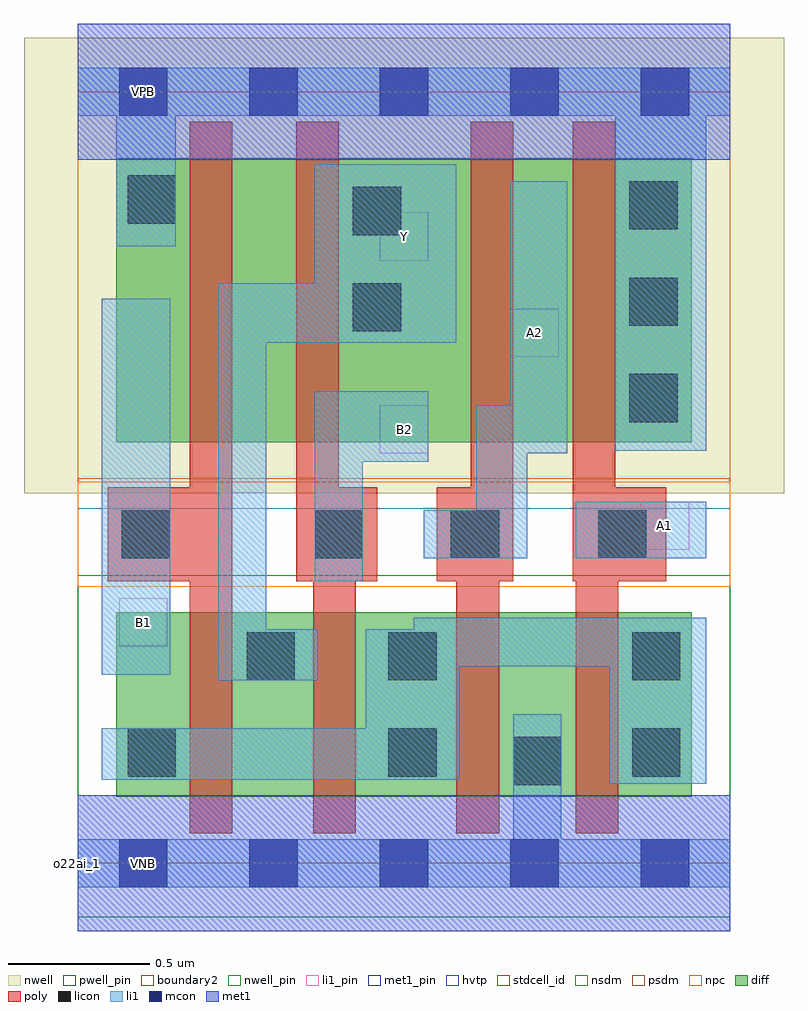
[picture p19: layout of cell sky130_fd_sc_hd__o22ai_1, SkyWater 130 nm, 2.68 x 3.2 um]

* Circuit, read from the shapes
.subckt sky130_fd_sc_hd__o22ai_1 A1 A2 B1 B2 VGND VNB VPB VPWR Y
XM1 Y B1 n1 VNB sky130_fd_pr__nfet_01v8 w=0.65 l=0.15
XM2 n1 B2 Y VNB sky130_fd_pr__nfet_01v8 w=0.65 l=0.15
XM3 VGND A2 n1 VNB sky130_fd_pr__nfet_01v8 w=0.65 l=0.15
XM4 n1 A1 VGND VNB sky130_fd_pr__nfet_01v8 w=0.65 l=0.15
XM5 n2 B1 VPWR VPB sky130_fd_pr__pfet_01v8_hvt w=1 l=0.15
XM6 Y B2 n2 VPB sky130_fd_pr__pfet_01v8_hvt w=1 l=0.15
XM7 n3 A2 Y VPB sky130_fd_pr__pfet_01v8_hvt w=1 l=0.15
XM8 VPWR A1 n3 VPB sky130_fd_pr__pfet_01v8_hvt w=1 l=0.15
.ends

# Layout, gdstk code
import gdstk
lib = gdstk.Library(unit=1e-6, precision=1e-09)
def R(c, l, rs):  # rectangles x0, y0, x1, y1
    for r in rs: c.add(gdstk.rectangle(r[:2], r[2:], *l))
def A(c, l, x, y, w, h, nx, ny, dx, dy):  # array of equal rectangles
    R(c, l, [(x+i*dx, y+j*dy, x+i*dx+w, y+j*dy+h) for i in range(nx) for j in range(ny)])
def P(c, l, *ps):  # polygons
    for p in ps: c.add(gdstk.Polygon(p, *l))
nwell_pin = (64, 16)
nwell = (64, 20)
diff = (65, 20)
poly = (66, 20)
licon = (66, 44)
li1_pin = (67, 16)
li1 = (67, 20)
mcon = (67, 44)
met1_pin = (68, 16)
met1 = (68, 20)
hvtp = (78, 44)
stdcell_id = (81, 4)
nsdm = (93, 44)
psdm = (94, 20)
npc = (95, 20)
pwell_pin = (122, 16)
boundary2 = (236, 0)

sky130_fd_sc_hd__o22ai_1 = lib.new_cell('sky130_fd_sc_hd__o22ai_1')
R(sky130_fd_sc_hd__o22ai_1, nwell_pin, [(0.145,2.635,0.315,2.805)])
R(sky130_fd_sc_hd__o22ai_1, nwell, [(-0.19,1.305,2.49,2.91)])
R(sky130_fd_sc_hd__o22ai_1, diff, [(0.135,0.235,2.165,0.885), (0.135,1.485,2.165,2.485)])
P(sky130_fd_sc_hd__o22ai_1, poly, [(0.545,2.615),(0.395,2.615),(0.395,1.325),(0.105,1.325),(0.105,0.995),(0.395,0.995),(0.395,0.105),(0.545,0.105)],
  [(1.055,1.325),(0.92,1.325),(0.92,2.615),(0.77,2.615),(0.77,0.995),(0.83,0.995),(0.83,0.105),(0.98,0.105),(0.98,0.995),(1.055,0.995)],
  [(1.535,2.615),(1.385,2.615),(1.385,1.325),(1.265,1.325),(1.265,0.995),(1.335,0.995),(1.335,0.105),(1.485,0.105),(1.485,0.995),(1.535,0.995)],
  [(2.075,1.325),(1.895,1.325),(1.895,2.615),(1.745,2.615),(1.745,0.995),(1.755,0.995),(1.755,0.105),(1.905,0.105),(1.905,0.995),(2.075,0.995)])
A(sky130_fd_sc_hd__o22ai_1, licon, 1.945, 1.555, 0.17, 0.17, 1, 3, 0, 0.34)
R(sky130_fd_sc_hd__o22ai_1, licon, [(1.535,0.275,1.705,0.445), (0.175,0.305,0.345,0.475), (1.095,0.305,1.265,0.475), (1.955,0.305,2.125,0.475), (0.595,0.645,0.765,0.815), (1.095,0.645,1.265,0.815), (1.955,0.645,2.125,0.815), (0.155,1.075,0.325,1.245), (0.835,1.075,1.005,1.245), (1.315,1.075,1.485,1.245), (1.835,1.075,2.005,1.245), (0.97,1.875,1.14,2.045), (0.97,2.215,1.14,2.385), (0.175,2.255,0.345,2.425)])
R(sky130_fd_sc_hd__o22ai_1, li1_pin, [(0.145,0.765,0.315,0.935), (1.985,1.105,2.155,1.275), (1.065,1.445,1.235,1.615), (1.525,1.785,1.695,1.955), (1.065,2.125,1.235,2.295)])
R(sky130_fd_sc_hd__o22ai_1, li1, [(0.085,0.665,0.325,1.99), (1.755,1.075,2.215,1.275)])
P(sky130_fd_sc_hd__o22ai_1, li1, [(2.3,0.085),(1.705,0.085),(1.705,0.525),(1.535,0.525),(1.535,0.085),(0,0.085),(0,-0.085),(2.3,-0.085)],
  [(2.3,2.805),(0,2.805),(0,2.635),(0.135,2.635),(0.135,2.175),(0.345,2.175),(0.345,2.635),(1.895,2.635),(1.895,1.455),(2.215,1.455),(2.215,2.635),(2.3,2.635)],
  [(1.235,1.665),(0.835,1.665),(0.835,0.995),(1.005,0.995),(1.005,1.415),(1.235,1.415)],
  [(1.335,2.465),(0.835,2.465),(0.835,2.045),(0.495,2.045),(0.495,0.645),(0.845,0.645),(0.845,0.825),(0.665,0.825),(0.665,1.835),(1.335,1.835)],
  [(1.725,2.405),(1.525,2.405),(1.525,1.615),(1.405,1.615),(1.405,1.245),(1.22,1.245),(1.22,1.075),(1.585,1.075),(1.585,1.445),(1.725,1.445)],
  [(2.215,0.865),(1.185,0.865),(1.185,0.825),(1.015,0.825),(1.015,0.475),(0.085,0.475),(0.085,0.295),(1.345,0.295),(1.345,0.695),(1.875,0.695),(1.875,0.28),(2.215,0.28)])
A(sky130_fd_sc_hd__o22ai_1, mcon, 0.145, -0.085, 0.17, 0.17, 5, 2, 0.46, 2.72)
R(sky130_fd_sc_hd__o22ai_1, met1_pin, [(0.145,-0.085,0.315,0.085), (0.145,2.635,0.315,2.805)])
R(sky130_fd_sc_hd__o22ai_1, hvtp, [(0,1.25,2.3,2.72)])
R(sky130_fd_sc_hd__o22ai_1, stdcell_id, [(0,0,2.3,2.72)])
R(sky130_fd_sc_hd__o22ai_1, nsdm, [(0,-0.19,2.3,1.015)])
R(sky130_fd_sc_hd__o22ai_1, psdm, [(0,1.355,2.3,2.91)])
R(sky130_fd_sc_hd__o22ai_1, npc, [(0,0.975,2.3,1.345)])
R(sky130_fd_sc_hd__o22ai_1, pwell_pin, [(0.145,-0.085,0.315,0.085)])
R(sky130_fd_sc_hd__o22ai_1, boundary2, [(0,0,2.3,2.72)])
sky130_fd_sc_hd__o22ai_1.add(gdstk.FlexPath([(0,2.72),(2.3,2.72)], 0.48, ends="flush", simple_path=True, layer=68, datatype=20))  # met1
sky130_fd_sc_hd__o22ai_1.add(gdstk.FlexPath([(0,0),(2.3,0)], 0.48, ends="flush", simple_path=True, layer=68, datatype=20))  # met1
sky130_fd_sc_hd__o22ai_1.add(gdstk.Label('A2', (1.61,1.87), layer=67, texttype=5))
sky130_fd_sc_hd__o22ai_1.add(gdstk.Label('B1', (0.23,0.85), layer=67, texttype=5))
sky130_fd_sc_hd__o22ai_1.add(gdstk.Label('Y', (1.15,2.21), layer=67, texttype=5))
sky130_fd_sc_hd__o22ai_1.add(gdstk.Label('A1', (2.07,1.19), layer=67, texttype=5))
sky130_fd_sc_hd__o22ai_1.add(gdstk.Label('B2', (1.15,1.53), layer=67, texttype=5))
sky130_fd_sc_hd__o22ai_1.add(gdstk.Label('VPB', (0.23,2.72), layer=64, texttype=5))
sky130_fd_sc_hd__o22ai_1.add(gdstk.Label('VNB', (0.23,0), layer=64, texttype=59))
sky130_fd_sc_hd__o22ai_1.add(gdstk.Label('VGND', (0.23,0), layer=68, texttype=5))
sky130_fd_sc_hd__o22ai_1.add(gdstk.Label('VPWR', (0.23,2.72), layer=68, texttype=5))
sky130_fd_sc_hd__o22ai_1.add(gdstk.Label('o22ai_1', (0,0), layer=83, texttype=44))

lib.write_gds('sky130_fd_sc_hd__o22ai_1.gds')
